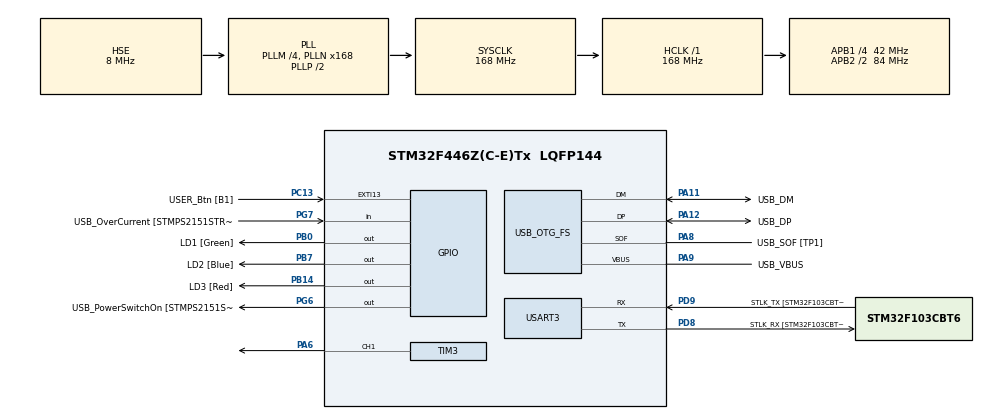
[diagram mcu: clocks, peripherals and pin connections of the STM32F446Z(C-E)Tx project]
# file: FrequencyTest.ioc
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Mcu.Family=STM32F4
Mcu.Name=STM32F446Z(C-E)Tx
Mcu.Package=LQFP144
NVIC.PriorityGroup=NVIC_PRIORITYGROUP_4
PA10.GPIO_Label=USB_ID
PA10.Signal=USB_OTG_FS_ID
PA11.GPIO_Label=USB_DM
PA11.Mode=Device_Only
PA11.Signal=USB_OTG_FS_DM
PA12.GPIO_Label=USB_DP
PA12.Mode=Device_Only
PA12.Signal=USB_OTG_FS_DP
PA13.GPIO_Label=TMS
PA13.Mode=Serial_Wire
PA13.Signal=SYS_JTMS-SWDIO
PA14.GPIO_Label=TCK
PA14.Mode=Serial_Wire
PA14.Signal=SYS_JTCK-SWCLK
PA6.Signal=S_TIM3_CH1
PA8.GPIO_Label=USB_SOF [TP1]
PA8.Mode=Activate_SOF_FS
PA8.Signal=USB_OTG_FS_SOF
PA9.GPIO_Label=USB_VBUS
PA9.Mode=Activate_VBUS
PA9.Signal=USB_OTG_FS_VBUS
PB0.GPIO_Label=LD1 [Green]
PB0.Signal=GPIO_Output
PB14.GPIO_Label=LD3 [Red]
PB14.Signal=GPIO_Output
PB7.GPIO_Label=LD2 [Blue]
PB7.Signal=GPIO_Output
PC13.GPIO_Label=USER_Btn [B1]
PC13.Signal=GPXTI13
PC14-OSC32_IN.Mode=LSE-External-Oscillator
PC14-OSC32_IN.Signal=RCC_OSC32_IN
PC15-OSC32_OUT.Mode=LSE-External-Oscillator
PC15-OSC32_OUT.Signal=RCC_OSC32_OUT
PD8.GPIO_Label=STLK_RX [STM32F103CBT6_PA3]
PD8.Mode=Asynchronous
PD8.Signal=USART3_TX
PD9.GPIO_Label=STLK_TX [STM32F103CBT6_PA2]
PD9.Mode=Asynchronous
PD9.Signal=USART3_RX
PG6.GPIO_Label=USB_PowerSwitchOn [STMPS2151STR_EN]
PG6.Signal=GPIO_Output
PG7.GPIO_Label=USB_OverCurrent [STMPS2151STR_FAULT]
PG7.Signal=GPIO_Input
PH0-OSC_IN.GPIO_Label=MCO [STM32F103CBT6_PA8]
PH0-OSC_IN.Mode=HSE-External-Clock-Source
PH0-OSC_IN.Signal=RCC_OSC_IN
PH1-OSC_OUT.Mode=HSE-External-Clock-Source
PH1-OSC_OUT.Signal=RCC_OSC_OUT
ProjectManager.HeapSize=0x200
ProjectManager.StackSize=0x400
ProjectManager.TargetToolchain=STM32CubeIDE
RCC.48MHZClocksFreq_Value=24000000
RCC.AHBFreq_Value=168000000
RCC.APB1CLKDivider=RCC_HCLK_DIV4
RCC.APB1Freq_Value=42000000
RCC.APB1TimFreq_Value=84000000
RCC.APB2CLKDivider=RCC_HCLK_DIV2
RCC.APB2Freq_Value=84000000
RCC.APB2TimFreq_Value=168000000
RCC.CortexFreq_Value=168000000
RCC.HCLKFreq_Value=168000000
RCC.HSE_VALUE=8000000
RCC.HSI_VALUE=16000000
RCC.PLLM=4
RCC.PLLMUL=RCC_PLL_MUL9
RCC.PLLN=168
RCC.PLLQ=7
RCC.PRESCALERUSB=RCC_USBCLKSOURCE_PLL_DIV1_5
RCC.SYSCLKFreq_VALUE=168000000
RCC.SYSCLKSource=RCC_SYSCLKSOURCE_PLLCLK
RCC.SYSCLKSourceVirtual=RCC_SYSCLKSOURCE_PLLCLK
RCC.USBFreq_Value=48000000
RCC.VCOOutputFreq_Value=336000000
SH.S_TIM3_CH1.0=TIM3_CH1,PWM Generation1 CH1
TIM3.Channel-PWM\ Generation1\ CH1=TIM_CHANNEL_1
USART3.VirtualMode=VM_ASYNC
USB_OTG_FS.VirtualMode=Device_Only
board=NUCLEO-F446ZE

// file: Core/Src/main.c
/* USER CODE BEGIN Header */
/**
  ******************************************************************************
  * @file           : main.c
  * @brief          : Main program body
  ******************************************************************************
  * @attention
  *
  * Copyright (c) 2025 STMicroelectronics.
  * All rights reserved.
  *
  * This software is licensed under terms that can be found in the LICENSE file
  * in the root directory of this software component.
  * If no LICENSE file comes with this software, it is provided AS-IS.
  *
  ******************************************************************************
  */
/* USER CODE END Header */
#include "main.h"

/* USER CODE BEGIN Includes */
#include <stdio.h>   // for snprintf (UART debug)
/* USER CODE END Includes */

TIM_HandleTypeDef htim3;
UART_HandleTypeDef huart3;
PCD_HandleTypeDef hpcd_USB_OTG_FS;

/* USER CODE BEGIN PV */

// Frequency table for TIM3_CH1 (PA6), timer clock = 84 MHz
typedef struct {
    uint32_t freq_hz;
    uint16_t psc;
    uint16_t arr;
} FreqEntry;

static const FreqEntry freq_table[] = {
    { 1000,    1, 41999 },   // 0: 1 kHz
    { 5000,    0, 16799 },   // 1: 5 kHz
    { 10000,   0, 8399  },   // 2: 10 kHz
    { 25000,   0, 3359  },   // 3: 25 kHz
    { 100000,  0, 839   },   // 4: 100 kHz
    { 200000,  0, 419   },   // 5: 200 kHz
    { 500000,  0, 167   },   // 6: 500 kHz
    { 1000000, 0, 83    },   // 7: 1 MHz
    { 2000000, 0, 41    },   // 8: 2 MHz
    { 3000000, 0, 27    },   // 9: 3 MHz
};

static const uint8_t NUM_FREQS = sizeof(freq_table) / sizeof(freq_table[0]);
uint8_t freq_index = 0;   // current frequency index (0..9)

/* USER CODE END PV */

void SystemClock_Config(void);
static void MX_GPIO_Init(void);
static void MX_USART3_UART_Init(void);
static void MX_USB_OTG_FS_PCD_Init(void);
static void MX_TIM3_Init(void);
/* USER CODE BEGIN PFP */

static void TIM3_SetFrequencyFromTable(uint8_t idx);

/* USER CODE END PFP */

/* USER CODE BEGIN 0 */

// Set TIM3_CH1 (PA6) to one of the pre-defined frequencies
static void TIM3_SetFrequencyFromTable(uint8_t idx)
{
  if (idx >= NUM_FREQS) return;

  const FreqEntry *f = &freq_table[idx];

  // Stop timer while changing settings
  __HAL_TIM_DISABLE(&htim3);

  __HAL_TIM_SET_PRESCALER(&htim3, f->psc);
  __HAL_TIM_SET_AUTORELOAD(&htim3, f->arr);

  // 50% duty cycle
  uint32_t half = (f->arr + 1U) / 2U;
  __HAL_TIM_SET_COMPARE(&htim3, TIM_CHANNEL_1, half);

  // Apply new settings
  __HAL_TIM_SET_COUNTER(&htim3, 0);
  __HAL_TIM_CLEAR_FLAG(&htim3, TIM_FLAG_UPDATE);
  __HAL_TIM_ENABLE(&htim3);
}

/* USER CODE END 0 */

int main(void)
{

  /* MCU Configuration--------------------------------------------------------*/

  /* Reset of all peripherals, Initializes the Flash interface and the Systick. */
  HAL_Init();

  /* Configure the system clock */
  SystemClock_Config();

  /* Initialize all configured peripherals */
  MX_GPIO_Init();
  MX_USART3_UART_Init();
  MX_USB_OTG_FS_PCD_Init();
  MX_TIM3_Init();
  /* USER CODE BEGIN 2 */

  // Start PWM on TIM3 Channel 1 (PA6)
  HAL_TIM_PWM_Start(&htim3, TIM_CHANNEL_1);

  // Start at index 0 (1 kHz)
  freq_index = 0;
  TIM3_SetFrequencyFromTable(freq_index);

  // Turn off LEDs initially
  HAL_GPIO_WritePin(LD1_GPIO_Port, LD1_Pin, GPIO_PIN_RESET);
  HAL_GPIO_WritePin(LD2_GPIO_Port, LD2_Pin, GPIO_PIN_RESET);
  HAL_GPIO_WritePin(LD3_GPIO_Port, LD3_Pin, GPIO_PIN_RESET);

  // Optional: print initial frequency over UART
  {
    char msg[64];
    int n = snprintf(msg, sizeof(msg),
                     "Start: index %u -> %lu Hz\r\n",
                     freq_index,
                     freq_table[freq_index].freq_hz);
    if (n > 0)
    {
      HAL_UART_Transmit(&huart3, (uint8_t*)msg, (uint16_t)n, 50);
    }
  }

  /* USER CODE END 2 */

  /* Infinite loop */
  while (1)
  {

    /* USER CODE BEGIN 3 */

    uint32_t now = HAL_GetTick();

    // 💚 Heartbeat: toggle LD1 every 500 ms so you know firmware is running
    static uint32_t last_hb = 0;
    if (now - last_hb >= 500)
    {
      last_hb = now;
      HAL_GPIO_TogglePin(LD1_GPIO_Port, LD1_Pin);
    }

    // 🔵 Button polling with edge detection + debounce
    static GPIO_PinState last_state = GPIO_PIN_RESET;   // previous button level
    static uint32_t      last_press_time = 0;

    GPIO_PinState curr = HAL_GPIO_ReadPin(USER_Btn_GPIO_Port, USER_Btn_Pin);

    // Detect any edge (press or release), but debounced
    if ((curr != last_state) && (now - last_press_time > 150))
    {
      // Treat this as a "click"
      last_press_time = now;

      // Step frequency: n -> n+1, wrap 9 -> 0
      freq_index++;
      if (freq_index >= NUM_FREQS)
      {
        freq_index = 0;
      }

      TIM3_SetFrequencyFromTable(freq_index);

      // Visual feedback: toggle LD2 on each frequency change
      HAL_GPIO_TogglePin(LD2_GPIO_Port, LD2_Pin);

      // Optional UART debug
      char msg[64];
      int n = snprintf(msg, sizeof(msg),
                       "Button -> index %u -> %lu Hz\r\n",
                       freq_index,
                       freq_table[freq_index].freq_hz);
      if (n > 0)
      {
        HAL_UART_Transmit(&huart3, (uint8_t*)msg, (uint16_t)n, 50);
      }
    }

    last_state = curr;

    // Timer keeps running in hardware; nothing else required here
  }
  /* USER CODE END 3 */
}

void SystemClock_Config(void)
{
  RCC_OscInitTypeDef RCC_OscInitStruct = {0};
  RCC_ClkInitTypeDef RCC_ClkInitStruct = {0};

  /** Configure the main internal regulator output voltage
  */
  __HAL_RCC_PWR_CLK_ENABLE();
  __HAL_PWR_VOLTAGESCALING_CONFIG(PWR_REGULATOR_VOLTAGE_SCALE1);

  /** Initializes the RCC Oscillators according to the specified parameters
  * in the RCC_OscInitTypeDef structure.
  */
  RCC_OscInitStruct.OscillatorType = RCC_OSCILLATORTYPE_HSE;
  RCC_OscInitStruct.HSEState = RCC_HSE_BYPASS;
  RCC_OscInitStruct.PLL.PLLState = RCC_PLL_ON;
  RCC_OscInitStruct.PLL.PLLSource = RCC_PLLSOURCE_HSE;
  RCC_OscInitStruct.PLL.PLLM = 4;
  RCC_OscInitStruct.PLL.PLLN = 168;
  RCC_OscInitStruct.PLL.PLLP = RCC_PLLP_DIV2;
  RCC_OscInitStruct.PLL.PLLQ = 7;
  RCC_OscInitStruct.PLL.PLLR = 2;
  if (HAL_RCC_OscConfig(&RCC_OscInitStruct) != HAL_OK)
  {
    Error_Handler();
  }

  /** Initializes the CPU, AHB and APB buses clocks
  */
  RCC_ClkInitStruct.ClockType = RCC_CLOCKTYPE_HCLK|RCC_CLOCKTYPE_SYSCLK
                              |RCC_CLOCKTYPE_PCLK1|RCC_CLOCKTYPE_PCLK2;
  RCC_ClkInitStruct.SYSCLKSource = RCC_SYSCLKSOURCE_PLLCLK;
  RCC_ClkInitStruct.AHBCLKDivider = RCC_SYSCLK_DIV1;
  RCC_ClkInitStruct.APB1CLKDivider = RCC_HCLK_DIV4;
  RCC_ClkInitStruct.APB2CLKDivider = RCC_HCLK_DIV2;

  if (HAL_RCC_ClockConfig(&RCC_ClkInitStruct, FLASH_LATENCY_5) != HAL_OK)
  {
    Error_Handler();
  }
}

static void MX_TIM3_Init(void)
{
  TIM_MasterConfigTypeDef sMasterConfig = {0};
  TIM_OC_InitTypeDef sConfigOC = {0};

  htim3.Instance = TIM3;
  htim3.Init.Prescaler = 0;
  htim3.Init.CounterMode = TIM_COUNTERMODE_UP;
  htim3.Init.Period = 65535;
  htim3.Init.ClockDivision = TIM_CLOCKDIVISION_DIV1;
  htim3.Init.AutoReloadPreload = TIM_AUTORELOAD_PRELOAD_DISABLE;
  if (HAL_TIM_PWM_Init(&htim3) != HAL_OK)
  {
    Error_Handler();
  }
  sMasterConfig.MasterOutputTrigger = TIM_TRGO_RESET;
  sMasterConfig.MasterSlaveMode = TIM_MASTERSLAVEMODE_DISABLE;
  if (HAL_TIMEx_MasterConfigSynchronization(&htim3, &sMasterConfig) != HAL_OK)
  {
    Error_Handler();
  }
  sConfigOC.OCMode = TIM_OCMODE_PWM1;
  sConfigOC.Pulse = 0;
  sConfigOC.OCPolarity = TIM_OCPOLARITY_HIGH;
  sConfigOC.OCFastMode = TIM_OCFAST_DISABLE;
  if (HAL_TIM_PWM_ConfigChannel(&htim3, &sConfigOC, TIM_CHANNEL_1) != HAL_OK)
  {
    Error_Handler();
  }
  HAL_TIM_MspPostInit(&htim3);
}

static void MX_USART3_UART_Init(void)
{
  huart3.Instance = USART3;
  huart3.Init.BaudRate = 115200;
  huart3.Init.WordLength = UART_WORDLENGTH_8B;
  huart3.Init.StopBits = UART_STOPBITS_1;
  huart3.Init.Parity = UART_PARITY_NONE;
  huart3.Init.Mode = UART_MODE_TX_RX;
  huart3.Init.HwFlowCtl = UART_HWCONTROL_NONE;
  huart3.Init.OverSampling = UART_OVERSAMPLING_16;
  if (HAL_UART_Init(&huart3) != HAL_OK)
  {
    Error_Handler();
  }
}

static void MX_USB_OTG_FS_PCD_Init(void)
{
  hpcd_USB_OTG_FS.Instance = USB_OTG_FS;
  hpcd_USB_OTG_FS.Init.dev_endpoints = 6;
  hpcd_USB_OTG_FS.Init.speed = PCD_SPEED_FULL;
  hpcd_USB_OTG_FS.Init.dma_enable = DISABLE;
  hpcd_USB_OTG_FS.Init.phy_itface = PCD_PHY_EMBEDDED;
  hpcd_USB_OTG_FS.Init.Sof_enable = ENABLE;
  hpcd_USB_OTG_FS.Init.low_power_enable = DISABLE;
  hpcd_USB_OTG_FS.Init.lpm_enable = DISABLE;
  hpcd_USB_OTG_FS.Init.vbus_sensing_enable = ENABLE;
  hpcd_USB_OTG_FS.Init.use_dedicated_ep1 = DISABLE;
  if (HAL_PCD_Init(&hpcd_USB_OTG_FS) != HAL_OK)
  {
    Error_Handler();
  }
}

static void MX_GPIO_Init(void)
{
  GPIO_InitTypeDef GPIO_InitStruct = {0};

  /* GPIO Ports Clock Enable */
  __HAL_RCC_GPIOC_CLK_ENABLE();
  __HAL_RCC_GPIOH_CLK_ENABLE();
  __HAL_RCC_GPIOA_CLK_ENABLE();
  __HAL_RCC_GPIOB_CLK_ENABLE();
  __HAL_RCC_GPIOD_CLK_ENABLE();
  __HAL_RCC_GPIOG_CLK_ENABLE();

  /*Configure GPIO pin Output Level */
  HAL_GPIO_WritePin(GPIOB, LD1_Pin|LD3_Pin|LD2_Pin, GPIO_PIN_RESET);

  /*Configure GPIO pin Output Level */
  HAL_GPIO_WritePin(USB_PowerSwitchOn_GPIO_Port, USB_PowerSwitchOn_Pin, GPIO_PIN_RESET);

  /* USER BUTTON: configure as simple input (NO interrupt) */
  GPIO_InitStruct.Pin = USER_Btn_Pin;
  GPIO_InitStruct.Mode = GPIO_MODE_INPUT;   // <-- IMPORTANT: polling, not EXTI
  GPIO_InitStruct.Pull = GPIO_NOPULL;
  HAL_GPIO_Init(USER_Btn_GPIO_Port, &GPIO_InitStruct);

  /*Configure GPIO pins : LD1_Pin LD3_Pin LD2_Pin */
  GPIO_InitStruct.Pin = LD1_Pin|LD3_Pin|LD2_Pin;
  GPIO_InitStruct.Mode = GPIO_MODE_OUTPUT_PP;
  GPIO_InitStruct.Pull = GPIO_NOPULL;
  GPIO_InitStruct.Speed = GPIO_SPEED_FREQ_LOW;
  HAL_GPIO_Init(GPIOB, &GPIO_InitStruct);

  /*Configure GPIO pin : USB_PowerSwitchOn_Pin */
  GPIO_InitStruct.Pin = USB_PowerSwitchOn_Pin;
  GPIO_InitStruct.Mode = GPIO_MODE_OUTPUT_PP;
  GPIO_InitStruct.Pull = GPIO_NOPULL;
  GPIO_InitStruct.Speed = GPIO_SPEED_FREQ_LOW;
  HAL_GPIO_Init(USB_PowerSwitchOn_GPIO_Port, &GPIO_InitStruct);

  /*Configure GPIO pin : USB_OverCurrent_Pin */
  GPIO_InitStruct.Pin = USB_OverCurrent_Pin;
  GPIO_InitStruct.Mode = GPIO_MODE_INPUT;
  GPIO_InitStruct.Pull = GPIO_NOPULL;
  HAL_GPIO_Init(USB_OverCurrent_GPIO_Port, &GPIO_InitStruct);
}

void Error_Handler(void)
{
  __disable_irq();
  while (1)
  {
    // Blink LD3 fast if an error happens
    HAL_GPIO_TogglePin(LD3_GPIO_Port, LD3_Pin);
    HAL_Delay(100);
  }
}
